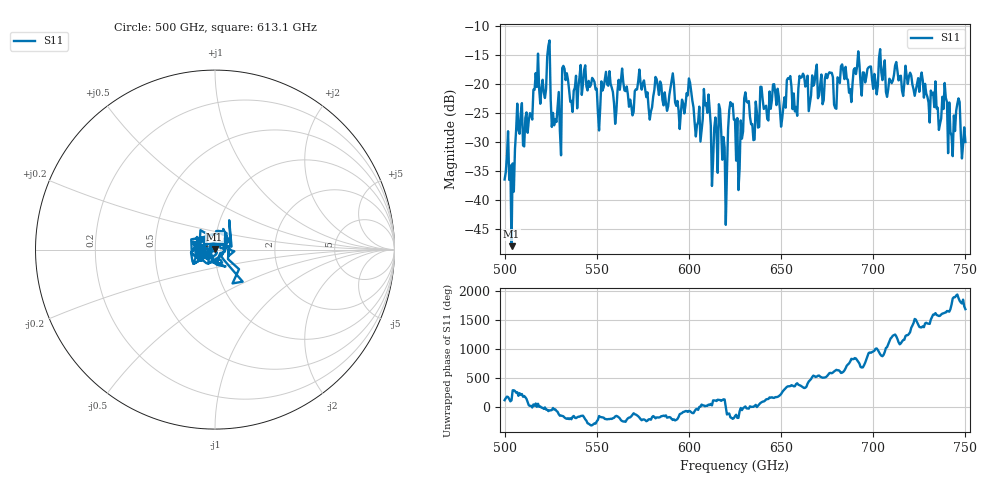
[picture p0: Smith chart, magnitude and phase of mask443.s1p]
!Created with skrf (http://scikit-rf.org).
# GHz S MA R 50.0
!freq magS11 angS11
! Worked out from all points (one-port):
!   401 points, 500 GHz to 750 GHz, reference 50 ohm
!   lowest |S11| = -48.0 dB at 503.8 GHz (marker M1), VSWR 1.01, Z = 49.8 + j0.336 ohm
!   |S11| at or under -10 dB: start of sweep to end of sweep
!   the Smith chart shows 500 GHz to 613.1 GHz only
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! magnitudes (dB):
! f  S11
! 500 GHz  -36.5
! 503.8 GHz  -48.0
! 508.1 GHz  -28.6
! 511.2 GHz  -25.9
! 516.9 GHz  -18.2
! 523.8 GHz  -13.5
! 526.9 GHz  -27.2
! 531.2 GHz  -17.3
! 532.5 GHz  -17.4
! 550.6 GHz  -25.0
! 562.5 GHz  -21.0
! 593.8 GHz  -23.0
! 600 GHz  -19.1
! 605 GHz  -26.6
! 609.4 GHz  -23.3
! 612.5 GHz  -37.6
! 617.5 GHz  -28.2
! 619.4 GHz  -31.0
! 622.5 GHz  -23.2
! 625 GHz  -26.1
! 626.9 GHz  -38.3
! 631.2 GHz  -23.1
! 634.4 GHz  -26.9
! 656.2 GHz  -24.4
! 687.5 GHz  -20.9
! 691.2 GHz  -17.0
! 718.8 GHz  -20.0
! 750 GHz  -30.0
